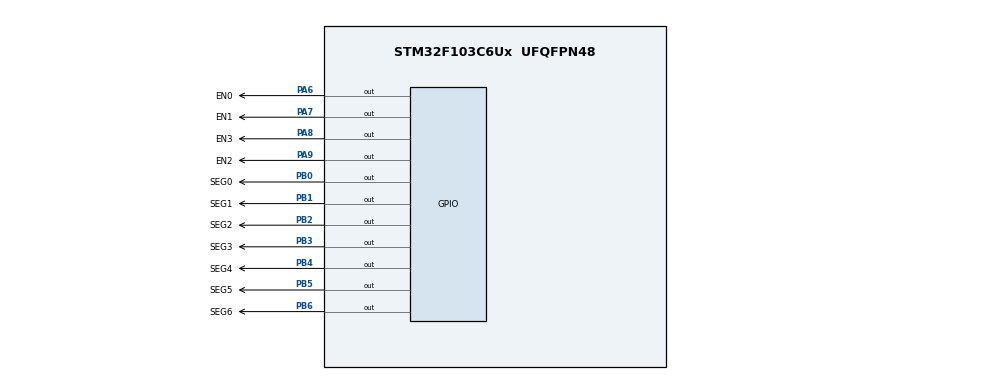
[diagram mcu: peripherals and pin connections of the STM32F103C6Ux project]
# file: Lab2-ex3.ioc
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Mcu.Family=STM32F1
Mcu.Name=STM32F103C6Ux
Mcu.Package=UFQFPN48
NVIC.PriorityGroup=NVIC_PRIORITYGROUP_4
NVIC.TIM2_IRQn=true\:0\:0\:false\:false\:true\:true\:true
PA6.GPIO_Label=EN0
PA6.Signal=GPIO_Output
PA7.GPIO_Label=EN1
PA7.Signal=GPIO_Output
PA8.GPIO_Label=EN3
PA8.Signal=GPIO_Output
PA9.GPIO_Label=EN2
PA9.Signal=GPIO_Output
PB0.GPIO_Label=SEG0
PB0.Signal=GPIO_Output
PB1.GPIO_Label=SEG1
PB1.Signal=GPIO_Output
PB2.GPIO_Label=SEG2
PB2.Signal=GPIO_Output
PB3.GPIO_Label=SEG3
PB3.Signal=GPIO_Output
PB4.GPIO_Label=SEG4
PB4.Signal=GPIO_Output
PB5.GPIO_Label=SEG5
PB5.Signal=GPIO_Output
PB6.GPIO_Label=SEG6
PB6.Signal=GPIO_Output
ProjectManager.HeapSize=0x200
ProjectManager.StackSize=0x400
ProjectManager.TargetToolchain=STM32CubeIDE
RCC.APB1Freq_Value=8000000
RCC.APB2Freq_Value=8000000
TIM2.Period=9
TIM2.Prescaler=7999
VP_SYS_VS_ND.Mode=No_Debug
VP_TIM2_VS_ClockSourceINT.Mode=Internal
board=custom

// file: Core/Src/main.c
/* USER CODE BEGIN Header */
/**
  ******************************************************************************
  * @file           : main.c
  * @brief          : Main program body
  ******************************************************************************
  * @attention
  *
  * <h2><center>&copy; Copyright (c) 2025 STMicroelectronics.
  * All rights reserved.</center></h2>
  *
  * This software component is licensed by ST under BSD 3-Clause license,
  * the "License"; You may not use this file except in compliance with the
  * License. You may obtain a copy of the License at:
  *                        opensource.org/licenses/BSD-3-Clause
  *
  ******************************************************************************
  */
/* USER CODE END Header */
#include "main.h"

TIM_HandleTypeDef htim2;

/* USER CODE BEGIN PV */
int led_buffer[4] = {1, 2, 3, 4};

int index_led = 0;
/* USER CODE END PV */

void SystemClock_Config(void);
static void MX_GPIO_Init(void);
static void MX_TIM2_Init(void);

/* USER CODE BEGIN 0 */
void display7SEG(int num) {
    // Turn off all segment
    HAL_GPIO_WritePin(GPIOB, SEG0_Pin|SEG1_Pin|SEG2_Pin|SEG3_Pin|SEG4_Pin|SEG5_Pin|SEG6_Pin, GPIO_PIN_SET);

    switch (num) {
        case 0:
            HAL_GPIO_WritePin(GPIOB, SEG0_Pin|SEG1_Pin|SEG2_Pin|SEG3_Pin|SEG4_Pin|SEG5_Pin, GPIO_PIN_RESET);
            break;
        case 1:
            HAL_GPIO_WritePin(GPIOB, SEG1_Pin|SEG2_Pin, GPIO_PIN_RESET);
            break;
        case 2:
            HAL_GPIO_WritePin(GPIOB, SEG0_Pin|SEG1_Pin|SEG3_Pin|SEG4_Pin|SEG6_Pin, GPIO_PIN_RESET);
            break;
        case 3:
            HAL_GPIO_WritePin(GPIOB, SEG0_Pin|SEG1_Pin|SEG2_Pin|SEG3_Pin|SEG6_Pin, GPIO_PIN_RESET);
            break;
        case 4:
            HAL_GPIO_WritePin(GPIOB, SEG1_Pin|SEG2_Pin|SEG5_Pin|SEG6_Pin, GPIO_PIN_RESET);
            break;
        case 5:
            HAL_GPIO_WritePin(GPIOB, SEG0_Pin|SEG2_Pin|SEG3_Pin|SEG5_Pin|SEG6_Pin, GPIO_PIN_RESET);
            break;
        case 6:
            HAL_GPIO_WritePin(GPIOB, SEG0_Pin|SEG2_Pin|SEG3_Pin|SEG4_Pin|SEG5_Pin|SEG6_Pin, GPIO_PIN_RESET);
            break;
        case 7:
            HAL_GPIO_WritePin(GPIOB, SEG0_Pin|SEG1_Pin|SEG2_Pin, GPIO_PIN_RESET);
            break;
        case 8:
            HAL_GPIO_WritePin(GPIOB, SEG0_Pin|SEG1_Pin|SEG2_Pin|SEG3_Pin|SEG4_Pin|SEG5_Pin|SEG6_Pin, GPIO_PIN_RESET);
            break;
        case 9:
            HAL_GPIO_WritePin(GPIOB, SEG0_Pin|SEG1_Pin|SEG2_Pin|SEG3_Pin|SEG5_Pin|SEG6_Pin, GPIO_PIN_RESET);
            break;
    }
}

void update7SEG(int index){
    switch (index){
        case 0:
            //Display the first 7SEG with led_buffer[0]
            display7SEG(led_buffer[0]);
            HAL_GPIO_WritePin(EN0_GPIO_Port, EN0_Pin, GPIO_PIN_RESET);
            break;
        case 1:
            //Display the second 7SEG with led_buffer[1]
            display7SEG(led_buffer[1]);
            HAL_GPIO_WritePin(EN1_GPIO_Port, EN1_Pin, GPIO_PIN_RESET);
            break;
        case 2:
            //Display the third 7SEG with led_buffer[2]
            display7SEG(led_buffer[2]);
            HAL_GPIO_WritePin(EN2_GPIO_Port, EN2_Pin, GPIO_PIN_RESET);
            break;
        case 3:
            //Display the forth 7SEG with led_buffer[3]
            display7SEG(led_buffer[3]);
            HAL_GPIO_WritePin(EN3_GPIO_Port, EN3_Pin, GPIO_PIN_RESET);
            break;
        default:
            break;
    }
}

/* USER CODE END 0 */

int main(void)
{

  /* MCU Configuration--------------------------------------------------------*/

  /* Reset of all peripherals, Initializes the Flash interface and the Systick. */
  HAL_Init();

  /* Configure the system clock */
  SystemClock_Config();

  /* Initialize all configured peripherals */
  MX_GPIO_Init();
  MX_TIM2_Init();
  HAL_TIM_Base_Start_IT(&htim2);
  /* Infinite loop */
  while (1)
  {

  }
}

void SystemClock_Config(void)
{
  RCC_OscInitTypeDef RCC_OscInitStruct = {0};
  RCC_ClkInitTypeDef RCC_ClkInitStruct = {0};

  /** Initializes the RCC Oscillators according to the specified parameters
  * in the RCC_OscInitTypeDef structure.
  */
  RCC_OscInitStruct.OscillatorType = RCC_OSCILLATORTYPE_HSI;
  RCC_OscInitStruct.HSIState = RCC_HSI_ON;
  RCC_OscInitStruct.HSICalibrationValue = RCC_HSICALIBRATION_DEFAULT;
  RCC_OscInitStruct.PLL.PLLState = RCC_PLL_NONE;
  if (HAL_RCC_OscConfig(&RCC_OscInitStruct) != HAL_OK)
  {
    Error_Handler();
  }
  /** Initializes the CPU, AHB and APB buses clocks
  */
  RCC_ClkInitStruct.ClockType = RCC_CLOCKTYPE_HCLK|RCC_CLOCKTYPE_SYSCLK
                              |RCC_CLOCKTYPE_PCLK1|RCC_CLOCKTYPE_PCLK2;
  RCC_ClkInitStruct.SYSCLKSource = RCC_SYSCLKSOURCE_HSI;
  RCC_ClkInitStruct.AHBCLKDivider = RCC_SYSCLK_DIV1;
  RCC_ClkInitStruct.APB1CLKDivider = RCC_HCLK_DIV1;
  RCC_ClkInitStruct.APB2CLKDivider = RCC_HCLK_DIV1;

  if (HAL_RCC_ClockConfig(&RCC_ClkInitStruct, FLASH_LATENCY_0) != HAL_OK)
  {
    Error_Handler();
  }
}

static void MX_TIM2_Init(void)
{

  TIM_ClockConfigTypeDef sClockSourceConfig = {0};
  TIM_MasterConfigTypeDef sMasterConfig = {0};

  htim2.Instance = TIM2;
  htim2.Init.Prescaler = 7999;
  htim2.Init.CounterMode = TIM_COUNTERMODE_UP;
  htim2.Init.Period = 999;
  htim2.Init.ClockDivision = TIM_CLOCKDIVISION_DIV1;
  htim2.Init.AutoReloadPreload = TIM_AUTORELOAD_PRELOAD_DISABLE;
  if (HAL_TIM_Base_Init(&htim2) != HAL_OK)
  {
    Error_Handler();
  }
  sClockSourceConfig.ClockSource = TIM_CLOCKSOURCE_INTERNAL;
  if (HAL_TIM_ConfigClockSource(&htim2, &sClockSourceConfig) != HAL_OK)
  {
    Error_Handler();
  }
  sMasterConfig.MasterOutputTrigger = TIM_TRGO_RESET;
  sMasterConfig.MasterSlaveMode = TIM_MASTERSLAVEMODE_DISABLE;
  if (HAL_TIMEx_MasterConfigSynchronization(&htim2, &sMasterConfig) != HAL_OK)
  {
    Error_Handler();
  }

}

static void MX_GPIO_Init(void)
{
  GPIO_InitTypeDef GPIO_InitStruct = {0};

  /* GPIO Ports Clock Enable */
  __HAL_RCC_GPIOA_CLK_ENABLE();
  __HAL_RCC_GPIOB_CLK_ENABLE();

  /*Configure GPIO pin Output Level */
  HAL_GPIO_WritePin(GPIOA, EN0_Pin|EN1_Pin|EN3_Pin|EN2_Pin, GPIO_PIN_RESET);

  /*Configure GPIO pin Output Level */
  HAL_GPIO_WritePin(GPIOB, SEG0_Pin|SEG1_Pin|SEG2_Pin|SEG3_Pin
                          |SEG4_Pin|SEG5_Pin|SEG6_Pin, GPIO_PIN_RESET);

  /*Configure GPIO pins : EN0_Pin EN1_Pin EN3_Pin EN2_Pin */
  GPIO_InitStruct.Pin = EN0_Pin|EN1_Pin|EN3_Pin|EN2_Pin;
  GPIO_InitStruct.Mode = GPIO_MODE_OUTPUT_PP;
  GPIO_InitStruct.Pull = GPIO_NOPULL;
  GPIO_InitStruct.Speed = GPIO_SPEED_FREQ_LOW;
  HAL_GPIO_Init(GPIOA, &GPIO_InitStruct);

  /*Configure GPIO pins : SEG0_Pin SEG1_Pin SEG2_Pin SEG3_Pin
                           SEG4_Pin SEG5_Pin SEG6_Pin */
  GPIO_InitStruct.Pin = SEG0_Pin|SEG1_Pin|SEG2_Pin|SEG3_Pin
                          |SEG4_Pin|SEG5_Pin|SEG6_Pin;
  GPIO_InitStruct.Mode = GPIO_MODE_OUTPUT_PP;
  GPIO_InitStruct.Pull = GPIO_NOPULL;
  GPIO_InitStruct.Speed = GPIO_SPEED_FREQ_LOW;
  HAL_GPIO_Init(GPIOB, &GPIO_InitStruct);

}

/* USER CODE BEGIN 4 */

void HAL_TIM_PeriodElapsedCallback(TIM_HandleTypeDef *htim) {
	update7SEG(index_led++);
		if(index_led >= 4) {
			index_led = 0;
		}
}
/* USER CODE END 4 */

void Error_Handler(void)
{
  __disable_irq();
  while (1)
  {
  }
}

/************************ (C) COPYRIGHT STMicroelectronics *****END OF FILE****/
